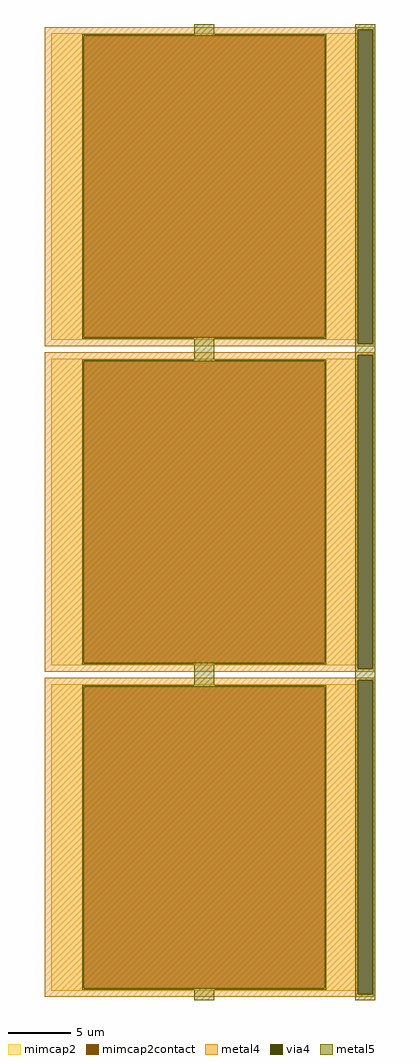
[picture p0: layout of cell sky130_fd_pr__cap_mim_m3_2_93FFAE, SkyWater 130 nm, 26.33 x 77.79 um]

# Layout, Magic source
magic
tech sky130A
magscale 1 2
<< metal4 >>
rect -2622 7688 2622 7729
rect -2622 2684 2366 7688
rect 2602 2684 2622 7688
rect -2622 2643 2622 2684
rect -2622 2502 2622 2543
rect -2622 -2502 2366 2502
rect 2602 -2502 2622 2502
rect -2622 -2543 2622 -2502
rect -2622 -2684 2622 -2643
rect -2622 -7688 2366 -2684
rect 2602 -7688 2622 -2684
rect -2622 -7729 2622 -7688
<< via4 >>
rect 2366 2684 2602 7688
rect 2366 -2502 2602 2502
rect 2366 -7688 2602 -2684
<< mimcap2 >>
rect -2522 7589 2364 7629
rect -2522 2783 -2001 7589
rect 1843 2783 2364 7589
rect -2522 2743 2364 2783
rect -2522 2403 2364 2443
rect -2522 -2403 -2001 2403
rect 1843 -2403 2364 2403
rect -2522 -2443 2364 -2403
rect -2522 -2783 2364 -2743
rect -2522 -7589 -2001 -2783
rect 1843 -7589 2364 -2783
rect -2522 -7629 2364 -7589
<< mimcap2contact >>
rect -2001 2783 1843 7589
rect -2001 -2403 1843 2403
rect -2001 -7589 1843 -2783
<< metal5 >>
rect -239 7613 81 7779
rect 2324 7688 2644 7779
rect -2025 7589 1867 7613
rect -2025 2783 -2001 7589
rect 1843 2783 1867 7589
rect -2025 2759 1867 2783
rect -239 2427 81 2759
rect 2324 2684 2366 7688
rect 2602 2684 2644 7688
rect 2324 2502 2644 2684
rect -2025 2403 1867 2427
rect -2025 -2403 -2001 2403
rect 1843 -2403 1867 2403
rect -2025 -2427 1867 -2403
rect -239 -2759 81 -2427
rect 2324 -2502 2366 2502
rect 2602 -2502 2644 2502
rect 2324 -2684 2644 -2502
rect -2025 -2783 1867 -2759
rect -2025 -7589 -2001 -2783
rect 1843 -7589 1867 -2783
rect -2025 -7613 1867 -7589
rect -239 -7779 81 -7613
rect 2324 -7688 2366 -2684
rect 2602 -7688 2644 -2684
rect 2324 -7779 2644 -7688
<< properties >>
string FIXED_BBOX -2622 2643 2464 7729
string gencell sky130_fd_pr__cap_mim_m3_2
string library sky130
string parameters w 24.43 l 24.43 val 1.212k carea 2.00 cperi 0.19 nx 1 ny 3 dummy 0 square 0 lmin 2.00 wmin 2.00 lmax 30.0 wmax 30.0 dc 0 bconnect 1 tconnect 1 ccov 80
<< end >>
